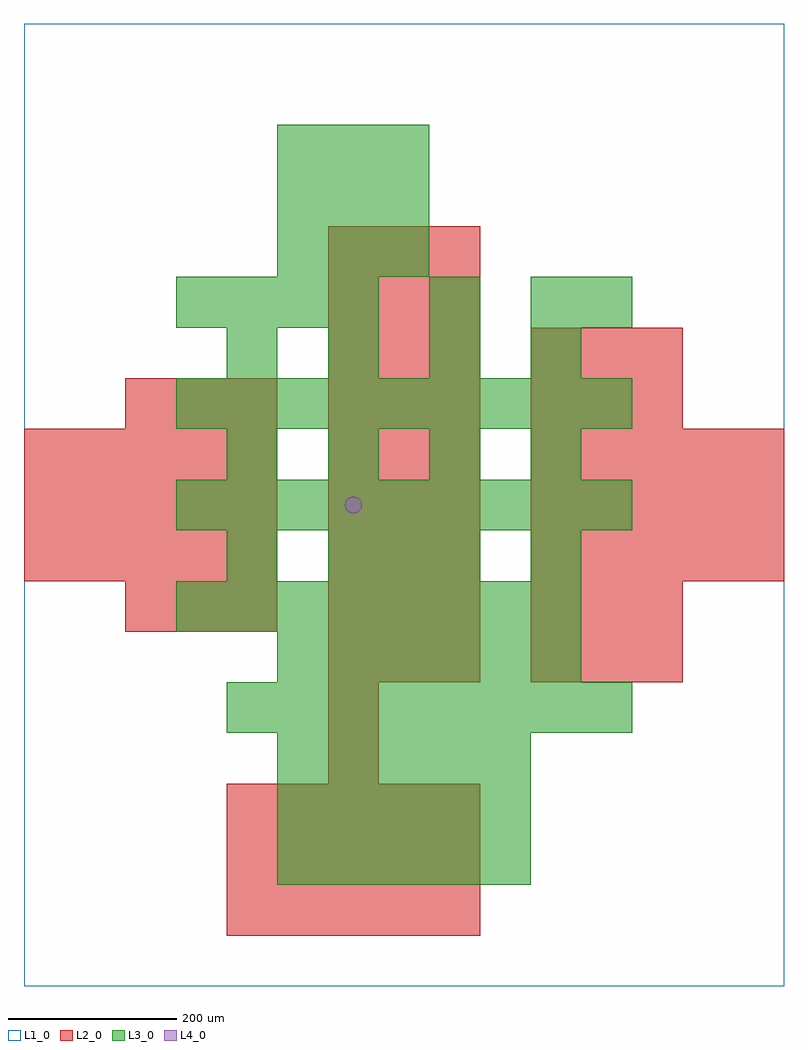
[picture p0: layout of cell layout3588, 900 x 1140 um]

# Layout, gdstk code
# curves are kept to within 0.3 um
import gdstk
lib = gdstk.Library(unit=1e-6, precision=1e-09)
def R(c, l, rs):  # rectangles x0, y0, x1, y1
    for r in rs: c.add(gdstk.rectangle(r[:2], r[2:], *l))
def A(c, l, x, y, w, h, nx, ny, dx, dy):  # array of equal rectangles
    R(c, l, [(x+i*dx, y+j*dy, x+i*dx+w, y+j*dy+h) for i in range(nx) for j in range(ny)])
def P(c, l, *ps):  # polygons
    for p in ps: c.add(gdstk.Polygon(p, *l))
L1_0 = (1, 0)
L2_0 = (2, 0)
L3_0 = (3, 0)
L4_0 = (4, 0)

layout3588 = lib.new_cell('layout3588')
R(layout3588, L1_0, [(0,0,900,1140)])
A(layout3588, L2_0, 240, 60, 60, 60, 5, 3, 60, 60)
A(layout3588, L2_0, 360, 360, 60, 60, 3, 9, 60, 60)
A(layout3588, L2_0, 600, 360, 60, 60, 3, 2, 60, 60)
A(layout3588, L2_0, 120, 420, 60, 60, 3, 2, 60, 240)
A(layout3588, L2_0, 0, 480, 60, 60, 5, 3, 60, 60)
A(layout3588, L2_0, 600, 480, 60, 60, 5, 3, 60, 60)
A(layout3588, L2_0, 600, 660, 60, 60, 3, 2, 60, 60)
R(layout3588, L2_0, [(360,240,420,300), (360,300,420,360)])
A(layout3588, L3_0, 300, 120, 60, 60, 5, 3, 60, 60)
A(layout3588, L3_0, 240, 300, 60, 60, 8, 1, 60, 0)
A(layout3588, L3_0, 300, 360, 60, 60, 6, 1, 60, 0)
A(layout3588, L3_0, 180, 420, 60, 60, 8, 1, 60, 0)
A(layout3588, L3_0, 360, 480, 60, 60, 3, 1, 60, 0)
A(layout3588, L3_0, 180, 540, 60, 60, 9, 2, 60, 120)
A(layout3588, L3_0, 240, 600, 60, 60, 4, 2, 120, 120)
A(layout3588, L3_0, 180, 780, 60, 60, 4, 1, 60, 0)
A(layout3588, L3_0, 300, 840, 60, 60, 3, 3, 60, 60)
R(layout3588, L3_0, [(240,480,300,540), (600,480,660,540), (480,780,540,840), (600,780,660,840), (660,780,720,840)])
P(layout3588, L4_0, [(400,570),(399.239,573.827),(397.071,577.071),(393.827,579.239),(390,580),(386.173,579.239),(382.929,577.071),(380.761,573.827),(380,570),(380.761,566.173),(382.929,562.929),(386.173,560.761),(390,560),(393.827,560.761),(397.071,562.929),(399.239,566.173)])

lib.write_gds('layout3588.gds')
